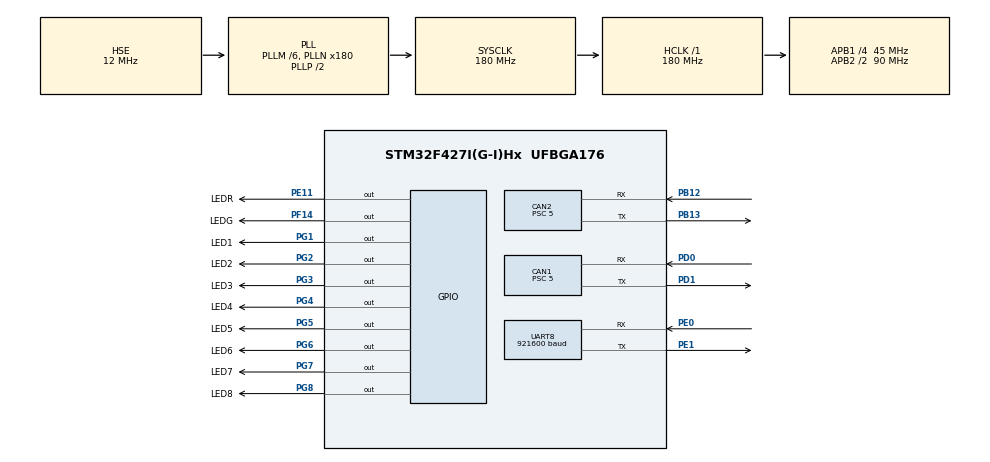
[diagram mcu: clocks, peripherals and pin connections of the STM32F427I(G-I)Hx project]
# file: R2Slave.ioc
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CAN1.ABOM=DISABLE
CAN1.BS1=CAN_BS1_3TQ
CAN1.BS2=CAN_BS2_5TQ
CAN1.CalculateBaudRate=1000000
CAN1.CalculateTimeBit=1000
CAN1.CalculateTimeQuantum=111.11111111111111
CAN1.Prescaler=5
CAN2.BS1=CAN_BS1_3TQ
CAN2.BS2=CAN_BS2_5TQ
CAN2.CalculateBaudRate=1000000
CAN2.CalculateTimeBit=1000
CAN2.CalculateTimeQuantum=111.11111111111111
CAN2.Prescaler=5
Dma.Request0=UART8_RX
Dma.UART8_RX.0.Direction=DMA_PERIPH_TO_MEMORY
Dma.UART8_RX.0.FIFOMode=DMA_FIFOMODE_DISABLE
Dma.UART8_RX.0.Instance=DMA1_Stream6
Dma.UART8_RX.0.MemDataAlignment=DMA_MDATAALIGN_BYTE
Dma.UART8_RX.0.MemInc=DMA_MINC_ENABLE
Dma.UART8_RX.0.Mode=DMA_NORMAL
Dma.UART8_RX.0.PeriphDataAlignment=DMA_PDATAALIGN_BYTE
Dma.UART8_RX.0.PeriphInc=DMA_PINC_DISABLE
Dma.UART8_RX.0.Priority=DMA_PRIORITY_VERY_HIGH
FREERTOS.Tasks01=recvMasterCmd,24,1024,RecvMasterCmd,Default,NULL,Dynamic,NULL,NULL
Mcu.Family=STM32F4
Mcu.Name=STM32F427I(G-I)Hx
Mcu.Package=UFBGA176
NVIC.CAN1_RX0_IRQn=true\:1\:0\:true\:false\:true\:false\:true\:true\:true
NVIC.CAN1_RX1_IRQn=true\:1\:0\:true\:false\:true\:false\:true\:true\:true
NVIC.CAN2_RX0_IRQn=true\:1\:0\:true\:false\:true\:false\:true\:true\:true
NVIC.CAN2_RX1_IRQn=true\:1\:0\:true\:false\:true\:false\:true\:true\:true
NVIC.DMA1_Stream6_IRQn=true\:5\:0\:false\:false\:true\:true\:false\:true\:true
NVIC.PriorityGroup=NVIC_PRIORITYGROUP_4
NVIC.TIM6_DAC_IRQn=true\:15\:0\:false\:false\:true\:false\:false\:true\:true
NVIC.TIM7_IRQn=true\:5\:0\:false\:false\:true\:true\:true\:true\:true
NVIC.TimeBase=TIM6_DAC_IRQn
NVIC.TimeBaseIP=TIM6
NVIC.UART8_IRQn=true\:6\:0\:true\:false\:true\:true\:true\:true\:true
PA13.Mode=Serial_Wire
PA13.Signal=SYS_JTMS-SWDIO
PA14.Mode=Serial_Wire
PA14.Signal=SYS_JTCK-SWCLK
PB12.Mode=CAN_Activate
PB12.Signal=CAN2_RX
PB13.Mode=CAN_Activate
PB13.Signal=CAN2_TX
PD0.Mode=CAN_Activate
PD0.Signal=CAN1_RX
PD1.Mode=CAN_Activate
PD1.Signal=CAN1_TX
PE0.Mode=Asynchronous
PE0.Signal=UART8_RX
PE1.Mode=Asynchronous
PE1.Signal=UART8_TX
PE11.GPIO_Label=LEDR
PE11.Signal=GPIO_Output
PE7.Signal=UART7_RX
PE8.Signal=UART7_TX
PF14.GPIO_Label=LEDG
PF14.Signal=GPIO_Output
PG1.GPIO_Label=LED1
PG1.PinState=GPIO_PIN_SET
PG1.Signal=GPIO_Output
PG2.GPIO_Label=LED2
PG2.PinState=GPIO_PIN_SET
PG2.Signal=GPIO_Output
PG3.GPIO_Label=LED3
PG3.PinState=GPIO_PIN_SET
PG3.Signal=GPIO_Output
PG4.GPIO_Label=LED4
PG4.PinState=GPIO_PIN_SET
PG4.Signal=GPIO_Output
PG5.GPIO_Label=LED5
PG5.PinState=GPIO_PIN_SET
PG5.Signal=GPIO_Output
PG6.GPIO_Label=LED6
PG6.PinState=GPIO_PIN_SET
PG6.Signal=GPIO_Output
PG7.GPIO_Label=LED7
PG7.PinState=GPIO_PIN_SET
PG7.Signal=GPIO_Output
PG8.GPIO_Label=LED8
PG8.PinState=GPIO_PIN_SET
PG8.Signal=GPIO_Output
PH0/OSC_IN.Mode=HSE-External-Oscillator
PH0/OSC_IN.Signal=RCC_OSC_IN
PH1/OSC_OUT.Mode=HSE-External-Oscillator
PH1/OSC_OUT.Signal=RCC_OSC_OUT
ProjectManager.HeapSize=0x200
ProjectManager.StackSize=0x400
ProjectManager.TargetToolchain=STM32CubeIDE
RCC.48MHZClocksFreq_Value=90000000
RCC.AHBFreq_Value=180000000
RCC.APB1CLKDivider=RCC_HCLK_DIV4
RCC.APB1Freq_Value=45000000
RCC.APB1TimFreq_Value=90000000
RCC.APB2CLKDivider=RCC_HCLK_DIV2
RCC.APB2Freq_Value=90000000
RCC.APB2TimFreq_Value=180000000
RCC.CortexFreq_Value=180000000
RCC.HCLKFreq_Value=180000000
RCC.HSE_VALUE=12000000
RCC.HSI_VALUE=16000000
RCC.LSE_VALUE=32768
RCC.PLLM=6
RCC.PLLN=180
RCC.PLLSourceVirtual=RCC_PLLSOURCE_HSE
RCC.SYSCLKFreq_VALUE=180000000
RCC.SYSCLKSource=RCC_SYSCLKSOURCE_PLLCLK
RCC.VCOOutputFreq_Value=360000000
TIM7.Period=1000 - 1
TIM7.Prescaler=180
UART8.BaudRate=921600
UART8.VirtualMode=Asynchronous
VP_FREERTOS_VS_CMSIS_V2.Mode=CMSIS_V2
VP_SYS_VS_tim6.Mode=TIM6
VP_TIM7_VS_ClockSourceINT.Mode=Enable_Timer
board=custom

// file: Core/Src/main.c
/* USER CODE BEGIN Header */
/**
  ******************************************************************************
  * @file           : main.c
  * @brief          : Main program body
  ******************************************************************************
  * @attention
  *
  * Copyright (c) 2023 STMicroelectronics.
  * All rights reserved.
  *
  * This software is licensed under terms that can be found in the LICENSE file
  * in the root directory of this software component.
  * If no LICENSE file comes with this software, it is provided AS-IS.
  *
  ******************************************************************************
  */
/* USER CODE END Header */
#include "main.h"
#include "cmsis_os.h"
#include "can.h"
#include "dma.h"
#include "tim.h"
#include "usart.h"
#include "gpio.h"

/* USER CODE BEGIN Includes */

#include "stdio.h"
#include "string.h"
#include "RobotMain.h"

/* USER CODE END Includes */

void SystemClock_Config(void);
void MX_FREERTOS_Init(void);

/* USER CODE BEGIN 0 */

void SetM3508Can1Fifo0Filter()
{
    CAN_FilterTypeDef filter;
    filter.FilterBank = 0; //筛选器组编号
    filter.FilterMode = CAN_FILTERMODE_IDMASK; //ID掩码模式
    filter.FilterScale = CAN_FILTERSCALE_32BIT; //32位长度
    //接收所有帧
    filter.FilterIdHigh = 0x0000;
    filter.FilterIdLow = 0x0000;
    filter.FilterMaskIdHigh = 0x0000;
    filter.FilterMaskIdLow = 0x0000;

    filter.FilterFIFOAssignment = CAN_RX_FIFO0;
    filter.FilterActivation = ENABLE;
    filter.SlaveStartFilterBank = 14;
    HAL_CAN_ConfigFilter(&hcan1, &filter);
}

void SetM3508Can1Fifo1Filter()
{
    CAN_FilterTypeDef filter;
    filter.FilterBank = 1; //筛选器组编号
    filter.FilterMode = CAN_FILTERMODE_IDMASK; //ID掩码模式
    filter.FilterScale = CAN_FILTERSCALE_32BIT; //32位长度
    //接收所有帧
    filter.FilterIdHigh = 0x0000;
    filter.FilterIdLow = 0x0000;
    filter.FilterMaskIdHigh = 0x0000;
    filter.FilterMaskIdLow = 0x0000;

    filter.FilterFIFOAssignment = CAN_RX_FIFO1;
    filter.FilterActivation = ENABLE;
    filter.SlaveStartFilterBank = 14;
    HAL_CAN_ConfigFilter(&hcan1, &filter);
}

void SetM3508Can2Fifo0Filter()
{
    CAN_FilterTypeDef filter;
    filter.FilterBank = 14; //筛选器组编号
    filter.FilterMode = CAN_FILTERMODE_IDMASK; //ID掩码模式
    filter.FilterScale = CAN_FILTERSCALE_32BIT; //32位长度
    //接收所有帧
    filter.FilterIdHigh = 0x0000;
    filter.FilterIdLow = 0x0000;
    filter.FilterMaskIdHigh = 0x0000;
    filter.FilterMaskIdLow = 0x0000;

    filter.FilterFIFOAssignment = CAN_RX_FIFO0;
    filter.FilterActivation = ENABLE;
    filter.SlaveStartFilterBank = 14;
    HAL_CAN_ConfigFilter(&hcan2, &filter);
}

void SetM3508Can2Fifo1Filter()
{
    CAN_FilterTypeDef filter;
    filter.FilterBank = 15; //筛选器组编号
    filter.FilterMode = CAN_FILTERMODE_IDMASK; //ID掩码模式
    filter.FilterScale = CAN_FILTERSCALE_32BIT; //32位长度
    //接收所有帧
    filter.FilterIdHigh = 0x0000;
    filter.FilterIdLow = 0x0000;
    filter.FilterMaskIdHigh = 0x0000;
    filter.FilterMaskIdLow = 0x0000;

    filter.FilterFIFOAssignment = CAN_RX_FIFO1;
    filter.FilterActivation = ENABLE;
    filter.SlaveStartFilterBank = 14;
    HAL_CAN_ConfigFilter(&hcan2, &filter);
}

void M3508CanInit()
{
    SetM3508Can1Fifo0Filter();
    SetM3508Can1Fifo1Filter();

    SetM3508Can2Fifo0Filter();
    SetM3508Can2Fifo1Filter();

    HAL_CAN_Start(&hcan1);
    HAL_CAN_Start(&hcan2);
    //开启Can接收消息中断
    __HAL_CAN_ENABLE_IT(&hcan1, CAN_IT_RX_FIFO0_MSG_PENDING);
    __HAL_CAN_ENABLE_IT(&hcan1, CAN_IT_RX_FIFO1_MSG_PENDING);

    __HAL_CAN_ENABLE_IT(&hcan2, CAN_IT_RX_FIFO0_MSG_PENDING);
    __HAL_CAN_ENABLE_IT(&hcan2, CAN_IT_RX_FIFO1_MSG_PENDING);
}

/* USER CODE END 0 */

int main(void)
{

  /* MCU Configuration--------------------------------------------------------*/

  /* Reset of all peripherals, Initializes the Flash interface and the Systick. */
  HAL_Init();

  /* Configure the system clock */
  SystemClock_Config();

  /* Initialize all configured peripherals */
  MX_GPIO_Init();
  MX_DMA_Init();
  MX_CAN1_Init();
  MX_TIM7_Init();
  MX_UART8_Init();
  MX_CAN2_Init();
  /* USER CODE BEGIN 2 */

    RobotInit();

    M3508CanInit();
    HAL_TIM_Base_Start_IT(&htim7); //每隔1ms tick一次

  /* USER CODE END 2 */

  /* Init scheduler */
  osKernelInitialize();  /* Call init function for freertos objects (in freertos.c) */
  MX_FREERTOS_Init();

  /* Start scheduler */
  osKernelStart();

  /* We should never get here as control is now taken by the scheduler */
  /* Infinite loop */
  while (1)
  {

  }
}

void SystemClock_Config(void)
{
  RCC_OscInitTypeDef RCC_OscInitStruct = {0};
  RCC_ClkInitTypeDef RCC_ClkInitStruct = {0};

  /** Configure the main internal regulator output voltage
  */
  __HAL_RCC_PWR_CLK_ENABLE();
  __HAL_PWR_VOLTAGESCALING_CONFIG(PWR_REGULATOR_VOLTAGE_SCALE1);

  /** Initializes the RCC Oscillators according to the specified parameters
  * in the RCC_OscInitTypeDef structure.
  */
  RCC_OscInitStruct.OscillatorType = RCC_OSCILLATORTYPE_HSE;
  RCC_OscInitStruct.HSEState = RCC_HSE_ON;
  RCC_OscInitStruct.PLL.PLLState = RCC_PLL_ON;
  RCC_OscInitStruct.PLL.PLLSource = RCC_PLLSOURCE_HSE;
  RCC_OscInitStruct.PLL.PLLM = 6;
  RCC_OscInitStruct.PLL.PLLN = 180;
  RCC_OscInitStruct.PLL.PLLP = RCC_PLLP_DIV2;
  RCC_OscInitStruct.PLL.PLLQ = 4;
  if (HAL_RCC_OscConfig(&RCC_OscInitStruct) != HAL_OK)
  {
    Error_Handler();
  }

  /** Activate the Over-Drive mode
  */
  if (HAL_PWREx_EnableOverDrive() != HAL_OK)
  {
    Error_Handler();
  }

  /** Initializes the CPU, AHB and APB buses clocks
  */
  RCC_ClkInitStruct.ClockType = RCC_CLOCKTYPE_HCLK|RCC_CLOCKTYPE_SYSCLK
                              |RCC_CLOCKTYPE_PCLK1|RCC_CLOCKTYPE_PCLK2;
  RCC_ClkInitStruct.SYSCLKSource = RCC_SYSCLKSOURCE_PLLCLK;
  RCC_ClkInitStruct.AHBCLKDivider = RCC_SYSCLK_DIV1;
  RCC_ClkInitStruct.APB1CLKDivider = RCC_HCLK_DIV4;
  RCC_ClkInitStruct.APB2CLKDivider = RCC_HCLK_DIV2;

  if (HAL_RCC_ClockConfig(&RCC_ClkInitStruct, FLASH_LATENCY_5) != HAL_OK)
  {
    Error_Handler();
  }
}

void HAL_TIM_PeriodElapsedCallback(TIM_HandleTypeDef *htim)
{
  if (htim->Instance == TIM6) {
    HAL_IncTick();
  }
  /* USER CODE BEGIN Callback 1 */

  if (htim->Instance == TIM7) {
      RobotTick();
  }

  /* USER CODE END Callback 1 */
}

void Error_Handler(void)
{
  __disable_irq();
  while (1)
  {
  }
}

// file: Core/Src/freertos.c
/* USER CODE BEGIN Header */
/**
  ******************************************************************************
  * File Name          : freertos.c
  * Description        : Code for freertos applications
  ******************************************************************************
  * @attention
  *
  * Copyright (c) 2023 STMicroelectronics.
  * All rights reserved.
  *
  * This software is licensed under terms that can be found in the LICENSE file
  * in the root directory of this software component.
  * If no LICENSE file comes with this software, it is provided AS-IS.
  *
  ******************************************************************************
  */
/* USER CODE END Header */

#include "FreeRTOS.h"
#include "task.h"
#include "main.h"
#include "cmsis_os.h"

/* USER CODE BEGIN Includes */

#include "gpio.h"
#include "usart.h"
#include "can.h"
#include <stdio.h>
#include <math.h>
#include <string.h>

/* USER CODE END Includes */

/* Definitions for recvMasterCmd */
osThreadId_t recvMasterCmdHandle;
const osThreadAttr_t recvMasterCmd_attributes = {
  .name = "recvMasterCmd",
  .stack_size = 1024 * 4,
  .priority = (osPriority_t) osPriorityNormal,
};

void RecvMasterCmd(void *argument);

void MX_FREERTOS_Init(void); /* (MISRA C 2004 rule 8.1) */

void MX_FREERTOS_Init(void) {

  /* Create the thread(s) */
  /* creation of recvMasterCmd */
  recvMasterCmdHandle = osThreadNew(RecvMasterCmd, NULL, &recvMasterCmd_attributes);

}

void RecvMasterCmd(void *argument)
{
  /* USER CODE BEGIN RecvMasterCmd */

//  RobotTest();
    RobotRecvMasterCmdThread();

  /* Infinite loop */
  for(;;)
  {
    osDelay(1);
  }
  /* USER CODE END RecvMasterCmd */
}
